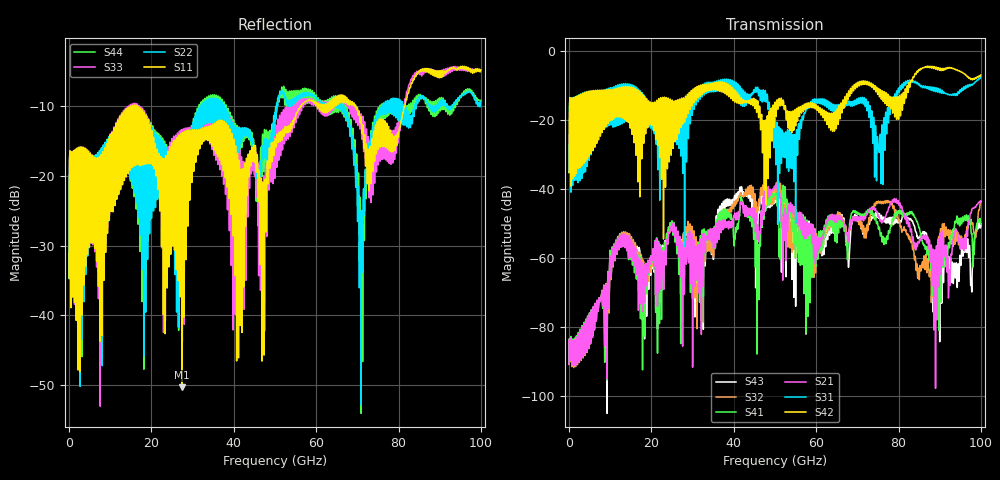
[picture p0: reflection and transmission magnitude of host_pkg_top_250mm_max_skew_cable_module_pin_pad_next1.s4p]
# Hz S RI R 50
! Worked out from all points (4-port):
!   10000 points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, 10 MHz to 100 GHz, reference 50 ohm
!   strongest paths, dB at 10 MHz, 25.01 GHz, 50.01 GHz, 75.01 GHz, 100 GHz:
!     S42: -35.3, -14.4, -15.0, -11.9, -7.0
!     S31: -35.2, -19.9, -19.4, -26.7, -7.5
!     S21: -90.9, -50.0, -39.5, -47.8, -43.5
!     S41: -90.6, -49.3, -41.7, -50.6, -50.2
!     S32: -91.0, -50.6, -39.9, -43.8, -43.8
!     S43: -90.7, -49.7, -40.2, -47.6, -50.7
!   lowest |S11| = -50.4 dB at 27.44 GHz (marker M1), VSWR 1.01, Z = 50.2 - j0.223 ohm
!   |S11| at or under -10 dB: start of sweep to 15.01 GHz; 16.46 GHz to 56.13 GHz (39.67 GHz wide, 109 % of centre); 69.66 GHz to 81.39 GHz (11.73 GHz wide, 15.5 % of centre)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
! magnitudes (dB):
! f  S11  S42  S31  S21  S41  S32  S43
! 10 MHz  -34.7  -35.3  -35.2  -90.9  -90.6  -91.0  -90.7
! 12.75 GHz  -11.2  -10.7  -10.0  -53.1  -53.1  -52.7  -52.7
! 27.44 GHz  -50.4  -15.1  -17.9  -56.9  -61.0  -56.0  -56.7
! 50.28 GHz  -15.8  -18.6  -26.2  -38.6  -41.4  -38.7  -40.8
! 70.88 GHz  -11.5  -9.9  -14.2  -48.1  -47.3  -51.2  -51.2
! 88.15 GHz  -5.1  -5.0  -11.5  -67.9  -60.2  -64.5  -59.0
! 100 GHz  -4.8  -7.0  -7.5  -43.5  -50.2  -43.8  -50.7
